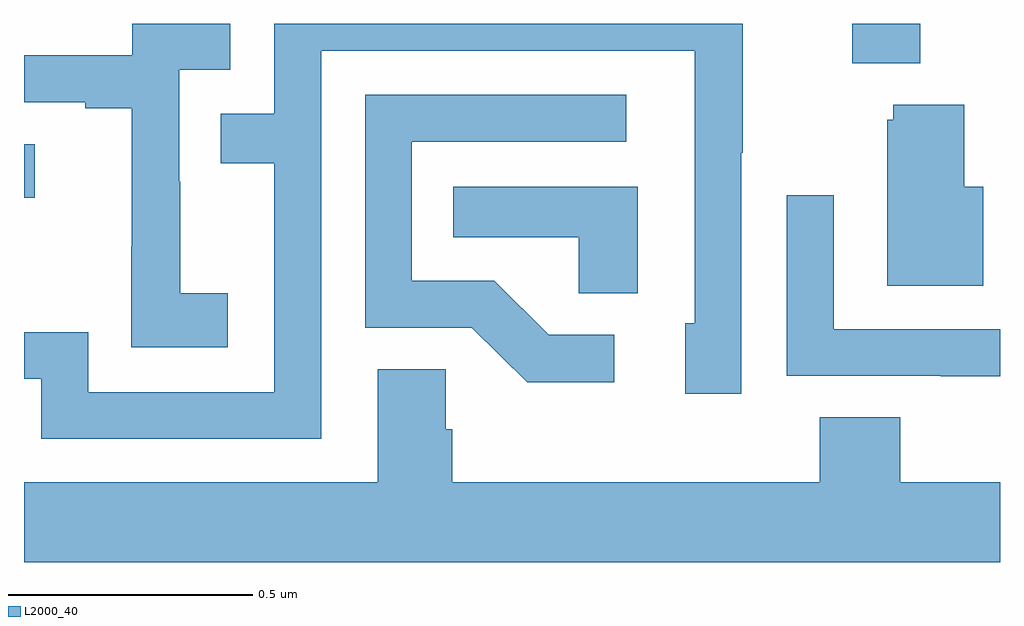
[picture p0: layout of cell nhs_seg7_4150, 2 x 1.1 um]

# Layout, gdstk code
import gdstk
lib = gdstk.Library(unit=1e-6, precision=1e-09)
def R(c, l, rs):  # rectangles x0, y0, x1, y1
    for r in rs: c.add(gdstk.rectangle(r[:2], r[2:], *l))
def P(c, l, *ps):  # polygons
    for p in ps: c.add(gdstk.Polygon(p, *l))
L2000_40 = (2000, 40)

nhs_seg7_4150 = lib.new_cell('nhs_seg7_4150')
R(nhs_seg7_4150, L2000_40, [(168,1054.643,168.022,1054.753), (169.697,1054.919,169.837,1055)])
P(nhs_seg7_4150, L2000_40, [(168.609,1054.944),(169.374,1054.944),(169.374,1054.386),(169.355,1054.386),(169.355,1054.242),(169.47,1054.242),(169.47,1054.735),(169.473,1054.735),(169.473,1055),(168.513,1055),(168.513,1054.815),(168.403,1054.815),(168.403,1054.714),(168.513,1054.714),(168.513,1054.245),(168.132,1054.245),(168.132,1054.368),(168,1054.368),(168,1054.272),(168.035,1054.272),(168.035,1054.149),(168.609,1054.149)],
  [(168.418,1054.447),(168.32,1054.447),(168.32,1054.676),(168.318,1054.676),(168.318,1054.905),(168.423,1054.905),(168.423,1055),(168.222,1055),(168.222,1054.935),(168,1054.935),(168,1054.839),(168.125,1054.839),(168.125,1054.827),(168.221,1054.827),(168.221,1054.543),(168.22,1054.543),(168.22,1054.337),(168.418,1054.337)],
  [(169.21,1054.362),(169.075,1054.362),(168.964,1054.473),(168.795,1054.473),(168.795,1054.758),(169.234,1054.758),(169.234,1054.854),(168.699,1054.854),(168.699,1054.377),(168.918,1054.377),(169.031,1054.265),(169.21,1054.265)],
  [(169.966,1054.666),(169.927,1054.666),(169.927,1054.834),(169.781,1054.834),(169.781,1054.803),(169.769,1054.803),(169.769,1054.463),(169.966,1054.463)],
  [(169.258,1054.666),(168.88,1054.666),(168.88,1054.562),(169.137,1054.562),(169.137,1054.447),(169.258,1054.447)],
  [(170,1054.374),(169.659,1054.374),(169.659,1054.648),(169.563,1054.648),(169.563,1054.278),(169.879,1054.278),(169.879,1054.277),(170,1054.277)],
  [(170,1054.06),(169.796,1054.06),(169.796,1054.193),(169.631,1054.193),(169.631,1054.06),(168.878,1054.06),(168.878,1054.169),(168.864,1054.169),(168.864,1054.292),(168.725,1054.292),(168.725,1054.06),(168,1054.06),(168,1053.896),(170,1053.896)])

lib.write_gds('nhs_seg7_4150.gds')
